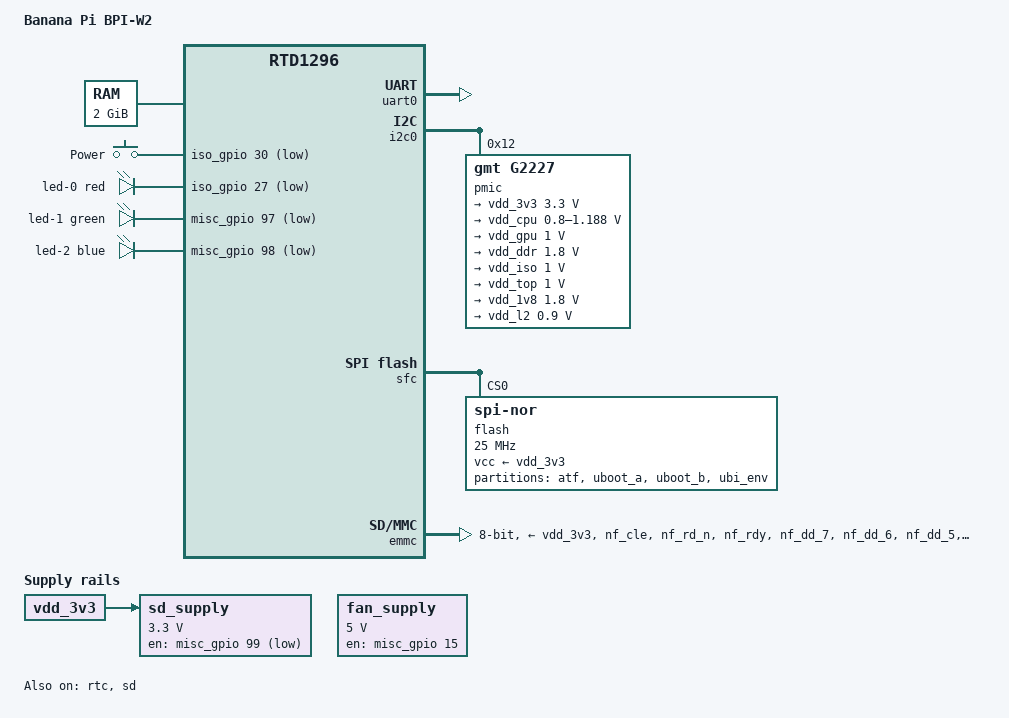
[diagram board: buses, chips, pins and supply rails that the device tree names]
// SPDX-License-Identifier: (GPL-2.0-or-later OR BSD-2-Clause)
/*
 * Banana Pi BPI-W2
 */

/dts-v1/;

#include <dt-bindings/gpio/gpio.h>
#include <dt-bindings/input/input.h>
#include <dt-bindings/leds/common.h>
#include <dt-bindings/thermal/thermal.h>

#include "rtd1296.dtsi"

/ {
	compatible = "bananapi,bpi-w2", "realtek,rtd1296";
	model = "Banana Pi BPI-W2";

	memory@1f000 {
		device_type = "memory";
		reg = <0x1f000 0x7ffe1000>;
	};

	aliases {
		serial0 = &uart0;
		mmc0 = &emmc;
		mmc1 = &sd;
	};

	chosen {
		stdout-path = "serial0:115200n8";
	};

	fan_supply: regulator-fan {
		compatible = "regulator-fixed";
		regulator-name = "fan-5v";
		regulator-min-microvolt = <5000000>;
		regulator-max-microvolt = <5000000>;
		gpio = <&misc_gpio 15 GPIO_ACTIVE_HIGH>;
		enable-active-high;
		regulator-boot-on;
		regulator-always-on;
	};

	thermal-zones {
		cpu-thermal {
			polling-delay-passive = <250>;
			polling-delay = <1000>;
			thermal-sensors = <&cpu_thermal_sensor>;

			trips {
				cpu_passive: passive {
					temperature = <75000>;
					hysteresis = <5000>;
					type = "passive";
				};

				cpu_critical: critical {
					temperature = <100000>;
					hysteresis = <2000>;
					type = "critical";
				};
			};

			cooling-maps {
				map0 {
					trip = <&cpu_passive>;
					cooling-device = <&cpu0 THERMAL_NO_LIMIT THERMAL_NO_LIMIT>;
				};
			};
		};
	};

	cpu_opp_table: opp-table-cpu {
		compatible = "operating-points-v2";
		opp-shared;

		opp-300000000 {
			opp-hz = /bits/ 64 <300000000>;
			opp-microvolt = <800000>;
			clock-latency-ns = <2000000>;
		};

		opp-400000000 {
			opp-hz = /bits/ 64 <400000000>;
			opp-microvolt = <800000>;
		};

		opp-500000000 {
			opp-hz = /bits/ 64 <500000000>;
			opp-microvolt = <800000>;
		};

		opp-600000000 {
			opp-hz = /bits/ 64 <600000000>;
			opp-microvolt = <825000>;
		};

		opp-700000000 {
			opp-hz = /bits/ 64 <700000000>;
			opp-microvolt = <850000>;
		};

		opp-800000000 {
			opp-hz = /bits/ 64 <800000000>;
			opp-microvolt = <875000>;
			opp-suspend;
		};

		opp-900000000 {
			opp-hz = /bits/ 64 <900000000>;
			opp-microvolt = <900000>;
		};

		opp-1000000000 {
			opp-hz = /bits/ 64 <1000000000>;
			opp-microvolt = <925000>;
		};

		opp-1100000000 {
			opp-hz = /bits/ 64 <1100000000>;
			opp-microvolt = <962500>;
		};

		opp-1200000000 {
			opp-hz = /bits/ 64 <1200000000>;
			opp-microvolt = <1012500>;
		};

		opp-1300000000 {
			opp-hz = /bits/ 64 <1300000000>;
			opp-microvolt = <1062500>;
		};

		opp-1400000000 {
			opp-hz = /bits/ 64 <1400000000>;
			opp-microvolt = <1100000>;
		};
	};

	gpio-keys {
		compatible = "gpio-keys";

		key-power {
			label = "Power";
			gpios = <&iso_gpio 30 GPIO_ACTIVE_LOW>;
			linux,code = <KEY_POWER>;
		};
	};

	leds {
		compatible = "gpio-leds";

		led-0 {
			color = <LED_COLOR_ID_RED>;
			function = LED_FUNCTION_POWER;
			gpios = <&iso_gpio 27 GPIO_ACTIVE_LOW>;
			default-state = "on";
		};

		led-1 {
			color = <LED_COLOR_ID_GREEN>;
			function = LED_FUNCTION_HEARTBEAT;
			gpios = <&misc_gpio 97 GPIO_ACTIVE_LOW>;
			linux,default-trigger = "heartbeat";
		};

		led-2 {
			color = <LED_COLOR_ID_BLUE>;
			function = LED_FUNCTION_STATUS;
			gpios = <&misc_gpio 98 GPIO_ACTIVE_LOW>;
			default-state = "on";
		};
	};

	sd_supply: regulator-sd {
		compatible = "regulator-fixed";
		regulator-name = "sd-3v3";
		regulator-min-microvolt = <3300000>;
		regulator-max-microvolt = <3300000>;
		vin-supply = <&vdd_3v3>;
		gpio = <&misc_gpio 99 GPIO_ACTIVE_LOW>;
		startup-delay-us = <10000>;
		pinctrl-names = "default";
		pinctrl-0 = <&sd_power_pins>;
	};
};

&uart0 {
	status = "okay";
};

&cpu0 {
	cpu-supply = <&vdd_cpu>;
	operating-points-v2 = <&cpu_opp_table>;
};

&cpu1 {
	cpu-supply = <&vdd_cpu>;
	operating-points-v2 = <&cpu_opp_table>;
};

&cpu2 {
	cpu-supply = <&vdd_cpu>;
	operating-points-v2 = <&cpu_opp_table>;
};

&cpu3 {
	cpu-supply = <&vdd_cpu>;
	operating-points-v2 = <&cpu_opp_table>;
};

&cpu_thermal_sensor {
	status = "okay";
};

&rtc {
	status = "okay";
};

&i2c0 {
	status = "okay";

	pmic@12 {
		compatible = "gmt,g2227";
		reg = <0x12>;

		regulators {
			vdd_3v3: dcdc1 {
				regulator-name = "vdd-3v3";
				regulator-min-microvolt = <3300000>;
				regulator-max-microvolt = <3300000>;
				regulator-boot-on;
				regulator-always-on;
			};

			vdd_cpu: dcdc2 {
				regulator-name = "vdd-cpu";
				regulator-min-microvolt = <800000>;
				regulator-max-microvolt = <1187500>;
				regulator-settling-time-up-us = <1000>;
				regulator-boot-on;
				regulator-always-on;
			};

			vdd_gpu: dcdc3 {
				regulator-name = "vdd-gpu";
				regulator-min-microvolt = <1000000>;
				regulator-max-microvolt = <1000000>;
				regulator-boot-on;
				regulator-always-on;
			};

			vdd_ddr: dcdc4 {
				regulator-name = "vdd-ddr";
				regulator-min-microvolt = <1800000>;
				regulator-max-microvolt = <1800000>;
				regulator-boot-on;
				regulator-always-on;
			};

			vdd_iso: dcdc5 {
				regulator-name = "vdd-iso";
				regulator-min-microvolt = <1000000>;
				regulator-max-microvolt = <1000000>;
				regulator-boot-on;
				regulator-always-on;
			};

			vdd_top: dcdc6 {
				regulator-name = "vdd-top";
				regulator-min-microvolt = <1000000>;
				regulator-max-microvolt = <1000000>;
				regulator-boot-on;
				regulator-always-on;
			};

			vdd_1v8: ldo2 {
				regulator-name = "vdd-1v8";
				regulator-min-microvolt = <1800000>;
				regulator-max-microvolt = <1800000>;
				regulator-boot-on;
				regulator-always-on;
			};

			vdd_l2: ldo3 {
				regulator-name = "vdd-l2";
				regulator-min-microvolt = <900000>;
				regulator-max-microvolt = <900000>;
				regulator-boot-on;
				regulator-always-on;
			};
		};
	};
};

&sfc {
	status = "okay";

	flash@0 {
		compatible = "jedec,spi-nor";
		reg = <0>;
		vcc-supply = <&vdd_3v3>;
		spi-max-frequency = <25000000>;

		partitions {
			compatible = "fixed-partitions";
			#address-cells = <1>;
			#size-cells = <1>;

			partition@0 {
				label = "atf";
				reg = <0x0 0x40000>;
				read-only;
			};

			partition@40000 {
				label = "uboot_a";
				reg = <0x40000 0x400000>;
			};

			partition@440000 {
				label = "uboot_b";
				reg = <0x440000 0x400000>;
				read-only;
			};

			partition@840000 {
				label = "ubi_env";
				reg = <0x840000 0x7c0000>;
			};
		};
	};
};

&cr_pinctrl {
	emmc_pins: emmc-pins {
		function = "emmc";
		pins = "nf_cle", "nf_rd_n", "nf_rdy", "nf_dd_7", "nf_dd_6",
		       "nf_dd_5", "nf_dd_4", "nf_dd_3", "nf_dd_2", "nf_dd_1",
		       "nf_dd_0", "emmc_dd_sb";
	};

	sd_pins: sd-pins {
		function = "sd";
		pins = "mmc_cmd", "mmc_clk", "mmc_cd", "mmc_wp",
		       "mmc_data_0", "mmc_data_1", "mmc_data_2", "mmc_data_3";
	};

	sd_power_pins: sd-power-pins {
		function = "gpio";
		pins = "prob_2";
	};
};

&emmc {
	pinctrl-names = "default";
	pinctrl-0 = <&emmc_pins>;
	bus-width = <8>;
	max-frequency = <26000000>;
	clk-phase-legacy = <0 180>;
	vmmc-supply = <&vdd_3v3>;
	vqmmc-supply = <&vdd_1v8>;
	disable-wp;
	status = "okay";
};

&sd {
	pinctrl-names = "default";
	pinctrl-0 = <&sd_pins>;
	bus-width = <4>;
	max-frequency = <25000000>;
	vmmc-supply = <&sd_supply>;
	disable-wp;
	no-1-8-v;
	no-mmc;
	no-sdio;
	status = "okay";
};
